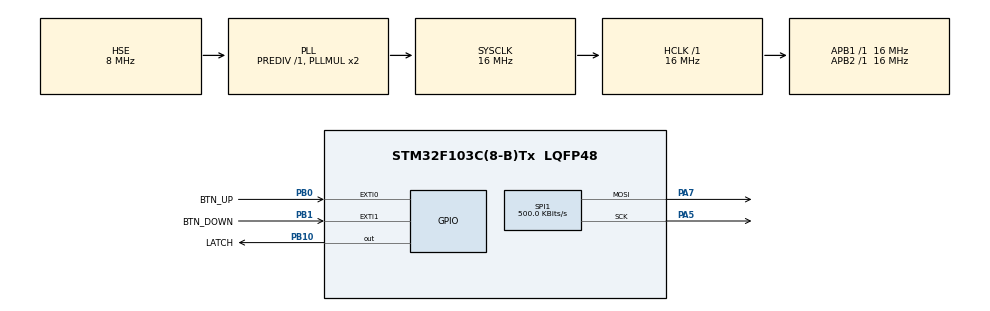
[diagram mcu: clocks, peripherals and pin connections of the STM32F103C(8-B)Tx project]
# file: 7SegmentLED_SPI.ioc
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Mcu.Family=STM32F1
Mcu.Name=STM32F103C(8-B)Tx
Mcu.Package=LQFP48
NVIC.EXTI0_IRQn=true\:0\:0\:false\:false\:true\:true\:true\:true
NVIC.EXTI1_IRQn=true\:0\:0\:false\:false\:true\:true\:true\:true
NVIC.PriorityGroup=NVIC_PRIORITYGROUP_4
PA13.Mode=Serial_Wire
PA13.Signal=SYS_JTMS-SWDIO
PA14.Mode=Serial_Wire
PA14.Signal=SYS_JTCK-SWCLK
PA5.Mode=TX_Only_Simplex_Unidirect_Master
PA5.Signal=SPI1_SCK
PA7.Mode=TX_Only_Simplex_Unidirect_Master
PA7.Signal=SPI1_MOSI
PB0.GPIO_Label=BTN_UP
PB0.GPIO_ModeDefaultEXTI=GPIO_MODE_IT_FALLING
PB0.GPIO_PuPd=GPIO_PULLUP
PB0.Signal=GPXTI0
PB1.GPIO_Label=BTN_DOWN
PB1.GPIO_ModeDefaultEXTI=GPIO_MODE_IT_FALLING
PB1.GPIO_PuPd=GPIO_PULLUP
PB1.Signal=GPXTI1
PB10.GPIO_Label=LATCH
PB10.Signal=GPIO_Output
PD0-OSC_IN.Mode=HSE-External-Oscillator
PD0-OSC_IN.Signal=RCC_OSC_IN
PD1-OSC_OUT.Mode=HSE-External-Oscillator
PD1-OSC_OUT.Signal=RCC_OSC_OUT
ProjectManager.HeapSize=0x200
ProjectManager.StackSize=0x400
ProjectManager.TargetToolchain=MDK-ARM V5.32
RCC.AHBFreq_Value=16000000
RCC.APB1Freq_Value=16000000
RCC.APB1TimFreq_Value=16000000
RCC.APB2Freq_Value=16000000
RCC.APB2TimFreq_Value=16000000
RCC.HCLKFreq_Value=16000000
RCC.PLLSourceVirtual=RCC_PLLSOURCE_HSE
RCC.SYSCLKFreq_VALUE=16000000
RCC.SYSCLKSource=RCC_SYSCLKSOURCE_PLLCLK
RCC.USBFreq_Value=16000000
SPI1.BaudRatePrescaler=SPI_BAUDRATEPRESCALER_32
SPI1.CalculateBaudRate=500.0 KBits/s
SPI1.Direction=SPI_DIRECTION_2LINES
SPI1.Mode=SPI_MODE_MASTER
SPI1.VirtualType=VM_MASTER
board=custom

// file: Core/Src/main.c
/* USER CODE BEGIN Header */
/**
  ******************************************************************************
  * @file           : main.c
  * @brief          : Main program body
  ******************************************************************************
  * @attention
  *
  * Copyright (c) 2025 STMicroelectronics.
  * All rights reserved.
  *
  * This software is licensed under terms that can be found in the LICENSE file
  * in the root directory of this software component.
  * If no LICENSE file comes with this software, it is provided AS-IS.
  *
  ******************************************************************************
  */
/* USER CODE END Header */
#include "main.h"

SPI_HandleTypeDef hspi1;

void SystemClock_Config(void);
static void MX_GPIO_Init(void);
static void MX_SPI1_Init(void);
/* USER CODE BEGIN PFP */
/*

QA:c
QB:b
QC:a
QD:g
QE:f
QF:e
QG:d

*/
/* 0:0b1110111 1:0b0000011 2:0b1101110 3:0b1001111 4:0b0011011 5:0b1011101 6:0b1111101 7:0b0000111 8:0b1111111 9:0b1011111 */

const uint8_t digits[10] = { 0x77, 0x03, 0x6e, 0x4f,
														0x1b, 0x5d, 0x7d, 0x07, 0x7f, 0x5f};

uint8_t num=0;
/* USER CODE END PFP */

/* USER CODE BEGIN 0 */
void HAL_GPIO_EXTI_Callback(uint16_t GPIO_Pin)
{
    static uint32_t last_tick = 0;

    if (HAL_GetTick() - last_tick < 200)
        return;

    last_tick = HAL_GetTick();

    if(GPIO_Pin==BTN_UP_Pin){
        if(num<9) num++;
    }
    else if(GPIO_Pin==BTN_DOWN_Pin){
        if(num>0) num--;
    }
}

void LATCH()
{
		HAL_GPIO_WritePin(LATCH_GPIO_Port, LATCH_Pin, GPIO_PIN_SET);
	  HAL_GPIO_WritePin(LATCH_GPIO_Port, LATCH_Pin, GPIO_PIN_RESET);
}
/* USER CODE END 0 */

int main(void)
{

  /* MCU Configuration--------------------------------------------------------*/

  /* Reset of all peripherals, Initializes the Flash interface and the Systick. */
  HAL_Init();

  /* Configure the system clock */
  SystemClock_Config();

  /* Initialize all configured peripherals */
  MX_GPIO_Init();
  MX_SPI1_Init();

  /* Infinite loop */
  /* USER CODE BEGIN WHILE */
  while (1)
  {
		HAL_SPI_Transmit(&hspi1, &digits[num], 1, 1);
		LATCH();
		HAL_Delay(100);
    /* USER CODE END WHILE */

  }
}

void SystemClock_Config(void)
{
  RCC_OscInitTypeDef RCC_OscInitStruct = {0};
  RCC_ClkInitTypeDef RCC_ClkInitStruct = {0};

  /** Initializes the RCC Oscillators according to the specified parameters
  * in the RCC_OscInitTypeDef structure.
  */
  RCC_OscInitStruct.OscillatorType = RCC_OSCILLATORTYPE_HSE;
  RCC_OscInitStruct.HSEState = RCC_HSE_ON;
  RCC_OscInitStruct.HSEPredivValue = RCC_HSE_PREDIV_DIV1;
  RCC_OscInitStruct.HSIState = RCC_HSI_ON;
  RCC_OscInitStruct.PLL.PLLState = RCC_PLL_ON;
  RCC_OscInitStruct.PLL.PLLSource = RCC_PLLSOURCE_HSE;
  RCC_OscInitStruct.PLL.PLLMUL = RCC_PLL_MUL2;
  if (HAL_RCC_OscConfig(&RCC_OscInitStruct) != HAL_OK)
  {
    Error_Handler();
  }

  /** Initializes the CPU, AHB and APB buses clocks
  */
  RCC_ClkInitStruct.ClockType = RCC_CLOCKTYPE_HCLK|RCC_CLOCKTYPE_SYSCLK
                              |RCC_CLOCKTYPE_PCLK1|RCC_CLOCKTYPE_PCLK2;
  RCC_ClkInitStruct.SYSCLKSource = RCC_SYSCLKSOURCE_PLLCLK;
  RCC_ClkInitStruct.AHBCLKDivider = RCC_SYSCLK_DIV1;
  RCC_ClkInitStruct.APB1CLKDivider = RCC_HCLK_DIV1;
  RCC_ClkInitStruct.APB2CLKDivider = RCC_HCLK_DIV1;

  if (HAL_RCC_ClockConfig(&RCC_ClkInitStruct, FLASH_LATENCY_0) != HAL_OK)
  {
    Error_Handler();
  }
}

static void MX_SPI1_Init(void)
{

  /* SPI1 parameter configuration*/
  hspi1.Instance = SPI1;
  hspi1.Init.Mode = SPI_MODE_MASTER;
  hspi1.Init.Direction = SPI_DIRECTION_2LINES;
  hspi1.Init.DataSize = SPI_DATASIZE_8BIT;
  hspi1.Init.CLKPolarity = SPI_POLARITY_LOW;
  hspi1.Init.CLKPhase = SPI_PHASE_1EDGE;
  hspi1.Init.NSS = SPI_NSS_SOFT;
  hspi1.Init.BaudRatePrescaler = SPI_BAUDRATEPRESCALER_32;
  hspi1.Init.FirstBit = SPI_FIRSTBIT_MSB;
  hspi1.Init.TIMode = SPI_TIMODE_DISABLE;
  hspi1.Init.CRCCalculation = SPI_CRCCALCULATION_DISABLE;
  hspi1.Init.CRCPolynomial = 10;
  if (HAL_SPI_Init(&hspi1) != HAL_OK)
  {
    Error_Handler();
  }

}

static void MX_GPIO_Init(void)
{
  GPIO_InitTypeDef GPIO_InitStruct = {0};

  /* GPIO Ports Clock Enable */
  __HAL_RCC_GPIOD_CLK_ENABLE();
  __HAL_RCC_GPIOA_CLK_ENABLE();
  __HAL_RCC_GPIOB_CLK_ENABLE();

  /*Configure GPIO pin Output Level */
  HAL_GPIO_WritePin(LATCH_GPIO_Port, LATCH_Pin, GPIO_PIN_RESET);

  /*Configure GPIO pins : BTN_UP_Pin BTN_DOWN_Pin */
  GPIO_InitStruct.Pin = BTN_UP_Pin|BTN_DOWN_Pin;
  GPIO_InitStruct.Mode = GPIO_MODE_IT_FALLING;
  GPIO_InitStruct.Pull = GPIO_PULLUP;
  HAL_GPIO_Init(GPIOB, &GPIO_InitStruct);

  /*Configure GPIO pin : LATCH_Pin */
  GPIO_InitStruct.Pin = LATCH_Pin;
  GPIO_InitStruct.Mode = GPIO_MODE_OUTPUT_PP;
  GPIO_InitStruct.Pull = GPIO_NOPULL;
  GPIO_InitStruct.Speed = GPIO_SPEED_FREQ_LOW;
  HAL_GPIO_Init(LATCH_GPIO_Port, &GPIO_InitStruct);

  /* EXTI interrupt init*/
  HAL_NVIC_SetPriority(EXTI0_IRQn, 0, 0);
  HAL_NVIC_EnableIRQ(EXTI0_IRQn);

  HAL_NVIC_SetPriority(EXTI1_IRQn, 0, 0);
  HAL_NVIC_EnableIRQ(EXTI1_IRQn);

}

void Error_Handler(void)
{
  __disable_irq();
  while (1)
  {
  }
}
